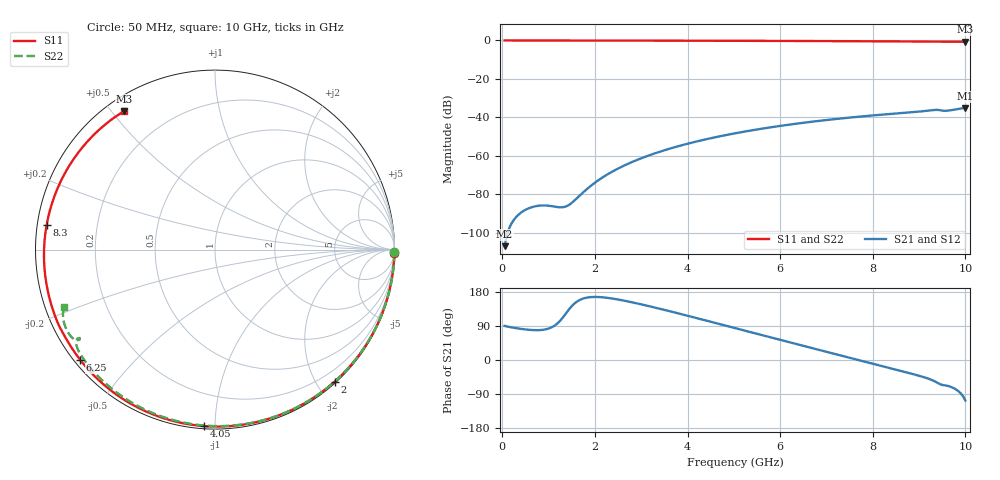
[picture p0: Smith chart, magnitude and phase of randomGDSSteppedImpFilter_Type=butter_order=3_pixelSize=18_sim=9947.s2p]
! freq	dB(S11)	phase(S11)	dB(S12)	phase(S12)
!  dB(S21)	phase(S21)	dB(S22)	phase(S22)
!S-par simulation data
#  GHz  S  DB  R 50
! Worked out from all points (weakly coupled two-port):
!   200 points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, 50 MHz to 10 GHz, reference 50 ohm
!   highest |S21| = -35.19 dB at 10 GHz (marker M1); lowest = -107.0 dB at 50 MHz (marker M2)
!   lowest |S11| = -0.7 dB at 10 GHz (marker M3), VSWR 24.93, Z = 2.59 + j27 ohm
!   |S11| at or under -10 dB: nowhere
!   |S22| runs from -0.9 to 0.0 dB; largest |S21 - S12| = 0
!   S11 on the Smith chart (normalised r, x): 50 MHz: 2, -94; 2 GHz: 0.02, -2.26; 4.05 GHz: 0.01, -0.94; 6.25 GHz: 0.02, -0.36; 8.3 GHz: 0.03, +0.07; 10 GHz: 0.05, +0.54
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0.05  -0.00 -1.2  -107.00 90.1  -107.00 90.1  -0.00 -0.9
0.85  -0.03 -20.6  -85.84 79.3  -85.84 79.3  -0.02 -15.0
1.7  -0.05 -40.8  -80.05 160.0  -80.05 160.0  -0.04 -29.7
1.75  -0.05 -42.0  -78.94 162.3  -78.94 162.3  -0.04 -30.6
2  -0.06 -47.8  -73.99 166.4  -73.99 166.4  -0.04 -34.8
2.3  -0.07 -54.7  -69.25 163.6  -69.25 163.6  -0.05 -39.9
2.6  -0.08 -61.5  -65.43 157.3  -65.43 157.3  -0.06 -44.9
3.4  -0.11 -79.4  -57.88 135.3  -57.88 135.3  -0.08 -58.0
4.05  -0.13 -93.6  -53.41 115.3  -53.41 115.3  -0.09 -68.4
5.05  -0.18 -115.0  -48.19 83.5  -48.19 83.5  -0.13 -83.7
5.65  -0.22 -127.8  -45.72 64.3  -45.72 64.3  -0.15 -92.6
6.25  -0.26 -140.7  -43.61 45.3  -43.61 45.3  -0.18 -101.4
6.7  -0.30 -150.4  -42.23 31.1  -42.23 31.1  -0.21 -107.8
7.5  -0.37 -168.7  -40.12 6.0  -40.12 6.0  -0.26 -119.1
8.3  -0.46 171.8  -38.39 -18.9  -38.39 -18.9  -0.33 -130.3
8.35  -0.47 170.5  -38.29 -20.5  -38.29 -20.5  -0.34 -131.0
9  -0.55 153.2  -37.00 -41.6  -37.00 -41.6  -0.42 -140.6
9.4  -0.61 141.7  -36.12 -60.5  -36.12 -60.5  -0.80 -147.1
9.5  -0.62 138.7  -36.51 -65.8  -36.51 -65.8  -0.85 -146.3
9.6  -0.64 135.7  -36.56 -67.8  -36.56 -67.8  -0.61 -147.7
9.85  -0.67 127.9  -35.62 -82.3  -35.62 -82.3  -0.58 -153.8
10  -0.70 123.2  -35.19 -107.0  -35.19 -107.0  -0.93 -159.3
